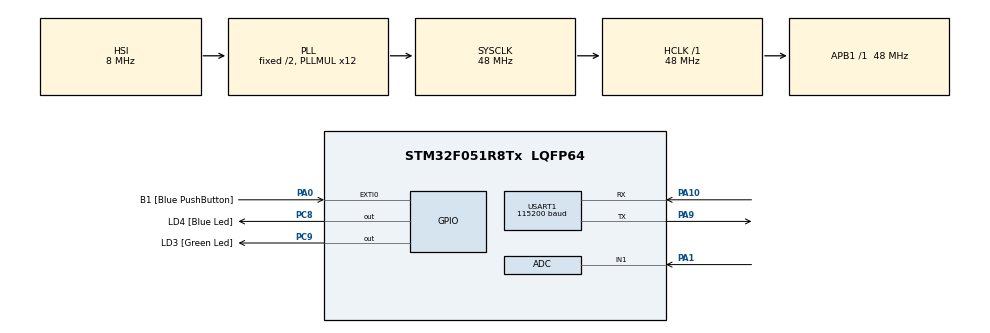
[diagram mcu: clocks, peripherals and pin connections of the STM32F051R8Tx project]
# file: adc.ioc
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Mcu.Family=STM32F0
Mcu.Name=STM32F051R8Tx
Mcu.Package=LQFP64
NVIC.USART1_IRQn=true\:0\:0\:false\:false\:true\:true\:true
PA0.GPIO_Label=B1 [Blue PushButton]
PA0.GPIO_ModeDefaultEXTI=GPIO_MODE_EVT_RISING
PA0.Signal=GPXTI0
PA1.Mode=IN1
PA1.Signal=ADC_IN1
PA10.Mode=Asynchronous
PA10.Signal=USART1_RX
PA13.GPIO_Label=SWDIO
PA13.Signal=SYS_SWDIO
PA14.GPIO_Label=SWCLK
PA14.Signal=SYS_SWCLK
PA9.Mode=Asynchronous
PA9.Signal=USART1_TX
PC8.GPIO_Label=LD4 [Blue Led]
PC8.Signal=GPIO_Output
PC9.GPIO_Label=LD3 [Green Led]
PC9.Signal=GPIO_Output
ProjectManager.HeapSize=0x200
ProjectManager.StackSize=0x400
ProjectManager.TargetToolchain=TrueSTUDIO
RCC.AHBFreq_Value=48000000
RCC.APB1Freq_Value=48000000
RCC.APB1TimFreq_Value=48000000
RCC.HCLKFreq_Value=48000000
RCC.PLLMUL=RCC_PLL_MUL12
RCC.SYSCLKFreq_VALUE=48000000
RCC.SYSCLKSource=RCC_SYSCLKSOURCE_PLLCLK
USART1.BaudRate=115200
USART1.VirtualMode-Asynchronous=VM_ASYNC
board=STM32F0DISCOVERY

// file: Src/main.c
/* USER CODE BEGIN Header */
/**
  ******************************************************************************
  * @file           : main.c
  * @brief          : Main program body
  ******************************************************************************
  * @attention
  *
  * <h2><center>&copy; Copyright (c) 2019 STMicroelectronics.
  * All rights reserved.</center></h2>
  *
  * This software component is licensed by ST under BSD 3-Clause license,
  * the "License"; You may not use this file except in compliance with the
  * License. You may obtain a copy of the License at:
  *                        opensource.org/licenses/BSD-3-Clause
  *
  ******************************************************************************
  */
/* USER CODE END Header */

#include "main.h"

/* USER CODE BEGIN Includes */
#include "cgpio.h"
/* USER CODE END Includes */

ADC_HandleTypeDef hadc;

UART_HandleTypeDef huart1;

void SystemClock_Config(void);
static void MX_GPIO_Init(void);
static void MX_USART1_UART_Init(void);
static void MX_ADC_Init(void);

int main(void)
{

  /* MCU Configuration--------------------------------------------------------*/

  /* Reset of all peripherals, Initializes the Flash interface and the Systick. */
  HAL_Init();

  /* Configure the system clock */
  SystemClock_Config();

  /* Initialize all configured peripherals */
  MX_GPIO_Init();
  MX_USART1_UART_Init();
  MX_ADC_Init();
  /* USER CODE BEGIN 2 */

#define ADC_CALIBRATION_ENABLE
#ifdef ADC_CALIBRATION_ENABLE
#warning "ADC calibration activated"
	HAL_ADCEx_Calibration_Start(&hadc);
#endif
	HAL_ADC_Start(&hadc);
	uint32_t adc_convertion_state ;
#define MAX_ADC_SAMPLES 15
	uint32_t adc_value[MAX_ADC_SAMPLES+1];
	uint32_t sample_counter = 0;
	uint32_t seconds_counter = HAL_GetTick();
	uint32_t sample_holder = 0;
	uint32_t sample_average = 0;

 /* USER CODE END 2 */

  /* Infinite loop */
  while (1)
  {

    /* USER CODE BEGIN 3 */

	if (HAL_GetTick() > seconds_counter ){
		seconds_counter = HAL_GetTick() + 1000;
		LED_GREEN_TOGGLE();

	}
#if 1
	adc_convertion_state =  HAL_ADC_PollForConversion(&hadc, 100);
	if (adc_convertion_state){
		adc_value[sample_counter] = HAL_ADC_GetValue(&hadc);

		if (sample_counter >= MAX_ADC_SAMPLES){
			sample_counter = 0;
			sample_average = sample_holder / MAX_ADC_SAMPLES;
			sample_holder = 0;
		}else{
			sample_holder += adc_value[sample_counter];
			sample_counter++;
		}
		HAL_ADC_Start(&hadc);
	}

#endif
  }
  /* USER CODE END 3 */
}

void SystemClock_Config(void)
{
  RCC_OscInitTypeDef RCC_OscInitStruct = {0};
  RCC_ClkInitTypeDef RCC_ClkInitStruct = {0};
  RCC_PeriphCLKInitTypeDef PeriphClkInit = {0};

  /** Initializes the CPU, AHB and APB busses clocks
  */
  RCC_OscInitStruct.OscillatorType = RCC_OSCILLATORTYPE_HSI|RCC_OSCILLATORTYPE_HSI14;
  RCC_OscInitStruct.HSIState = RCC_HSI_ON;
  RCC_OscInitStruct.HSI14State = RCC_HSI14_ON;
  RCC_OscInitStruct.HSICalibrationValue = RCC_HSICALIBRATION_DEFAULT;
  RCC_OscInitStruct.HSI14CalibrationValue = 16;
  RCC_OscInitStruct.PLL.PLLState = RCC_PLL_ON;
  RCC_OscInitStruct.PLL.PLLSource = RCC_PLLSOURCE_HSI;
  RCC_OscInitStruct.PLL.PLLMUL = RCC_PLL_MUL12;
  RCC_OscInitStruct.PLL.PREDIV = RCC_PREDIV_DIV1;
  if (HAL_RCC_OscConfig(&RCC_OscInitStruct) != HAL_OK)
  {
    Error_Handler();
  }
  /** Initializes the CPU, AHB and APB busses clocks
  */
  RCC_ClkInitStruct.ClockType = RCC_CLOCKTYPE_HCLK|RCC_CLOCKTYPE_SYSCLK
                              |RCC_CLOCKTYPE_PCLK1;
  RCC_ClkInitStruct.SYSCLKSource = RCC_SYSCLKSOURCE_PLLCLK;
  RCC_ClkInitStruct.AHBCLKDivider = RCC_SYSCLK_DIV1;
  RCC_ClkInitStruct.APB1CLKDivider = RCC_HCLK_DIV1;

  if (HAL_RCC_ClockConfig(&RCC_ClkInitStruct, FLASH_LATENCY_1) != HAL_OK)
  {
    Error_Handler();
  }
  PeriphClkInit.PeriphClockSelection = RCC_PERIPHCLK_USART1;
  PeriphClkInit.Usart1ClockSelection = RCC_USART1CLKSOURCE_PCLK1;
  if (HAL_RCCEx_PeriphCLKConfig(&PeriphClkInit) != HAL_OK)
  {
    Error_Handler();
  }
}

static void MX_ADC_Init(void)
{

  ADC_ChannelConfTypeDef sConfig = {0};

  /** Configure the global features of the ADC (Clock, Resolution, Data Alignment and number of conversion)
  */
  hadc.Instance = ADC1;
  hadc.Init.ClockPrescaler = ADC_CLOCK_ASYNC_DIV1;
  hadc.Init.Resolution = ADC_RESOLUTION_12B;
  hadc.Init.DataAlign = ADC_DATAALIGN_RIGHT;
  hadc.Init.ScanConvMode = ADC_SCAN_DIRECTION_FORWARD;
  hadc.Init.EOCSelection = ADC_EOC_SINGLE_CONV;
  hadc.Init.LowPowerAutoWait = DISABLE;
  hadc.Init.LowPowerAutoPowerOff = DISABLE;
  hadc.Init.ContinuousConvMode = DISABLE;
  hadc.Init.DiscontinuousConvMode = DISABLE;
  hadc.Init.ExternalTrigConv = ADC_SOFTWARE_START;
  hadc.Init.ExternalTrigConvEdge = ADC_EXTERNALTRIGCONVEDGE_NONE;
  hadc.Init.DMAContinuousRequests = DISABLE;
  hadc.Init.Overrun = ADC_OVR_DATA_PRESERVED;
  if (HAL_ADC_Init(&hadc) != HAL_OK)
  {
    Error_Handler();
  }
  /** Configure for the selected ADC regular channel to be converted.
  */
  sConfig.Channel = ADC_CHANNEL_1;
  sConfig.Rank = ADC_RANK_CHANNEL_NUMBER;
  sConfig.SamplingTime = ADC_SAMPLETIME_1CYCLE_5;
  if (HAL_ADC_ConfigChannel(&hadc, &sConfig) != HAL_OK)
  {
    Error_Handler();
  }

}

static void MX_USART1_UART_Init(void)
{

  huart1.Instance = USART1;
  huart1.Init.BaudRate = 115200;
  huart1.Init.WordLength = UART_WORDLENGTH_8B;
  huart1.Init.StopBits = UART_STOPBITS_1;
  huart1.Init.Parity = UART_PARITY_NONE;
  huart1.Init.Mode = UART_MODE_TX_RX;
  huart1.Init.HwFlowCtl = UART_HWCONTROL_NONE;
  huart1.Init.OverSampling = UART_OVERSAMPLING_16;
  huart1.Init.OneBitSampling = UART_ONE_BIT_SAMPLE_DISABLE;
  huart1.AdvancedInit.AdvFeatureInit = UART_ADVFEATURE_NO_INIT;
  if (HAL_UART_Init(&huart1) != HAL_OK)
  {
    Error_Handler();
  }

}

static void MX_GPIO_Init(void)
{
  GPIO_InitTypeDef GPIO_InitStruct = {0};

  /* GPIO Ports Clock Enable */
  __HAL_RCC_GPIOA_CLK_ENABLE();
  __HAL_RCC_GPIOC_CLK_ENABLE();

  /*Configure GPIO pin Output Level */
  HAL_GPIO_WritePin(GPIOC, LD4_Pin|LD3_Pin, GPIO_PIN_RESET);

  /*Configure GPIO pin : B1_Pin */
  GPIO_InitStruct.Pin = B1_Pin;
  GPIO_InitStruct.Mode = GPIO_MODE_EVT_RISING;
  GPIO_InitStruct.Pull = GPIO_NOPULL;
  HAL_GPIO_Init(B1_GPIO_Port, &GPIO_InitStruct);

  /*Configure GPIO pins : LD4_Pin LD3_Pin */
  GPIO_InitStruct.Pin = LD4_Pin|LD3_Pin;
  GPIO_InitStruct.Mode = GPIO_MODE_OUTPUT_PP;
  GPIO_InitStruct.Pull = GPIO_NOPULL;
  GPIO_InitStruct.Speed = GPIO_SPEED_FREQ_LOW;
  HAL_GPIO_Init(GPIOC, &GPIO_InitStruct);

}

void Error_Handler(void)
{
}

/************************ (C) COPYRIGHT STMicroelectronics *****END OF FILE****/
